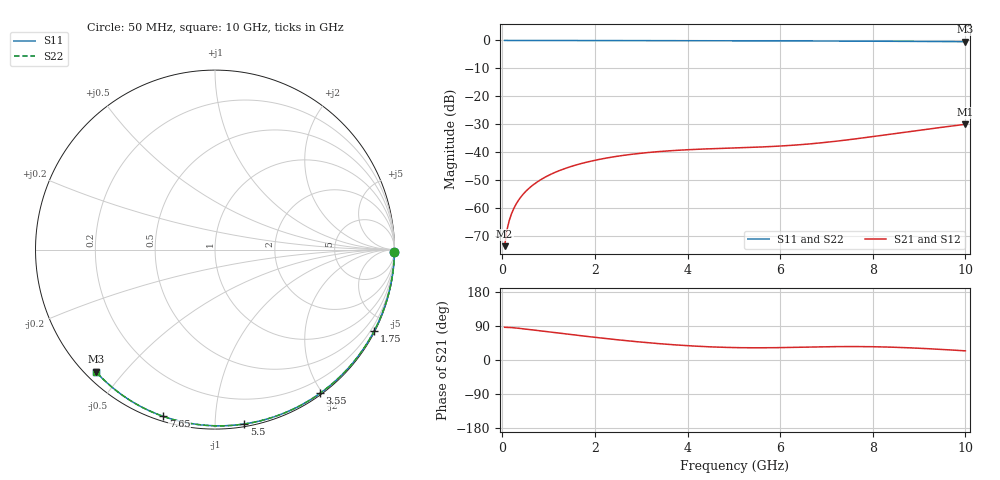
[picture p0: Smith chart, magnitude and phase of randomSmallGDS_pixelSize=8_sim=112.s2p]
! freq	dB(S11)	phase(S11)	dB(S12)	phase(S12)
!  dB(S21)	phase(S21)	dB(S22)	phase(S22)
!S-par simulation data
#  GHz  S  DB  R 50
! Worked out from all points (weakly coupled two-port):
!   200 points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, 50 MHz to 10 GHz, reference 50 ohm
!   highest |S21| = -30.06 dB at 10 GHz (marker M1); lowest = -73.7 dB at 50 MHz (marker M2)
!   lowest |S11| = -0.4 dB at 10 GHz (marker M3), VSWR 39.09, Z = 1.51 - j21 ohm
!   |S11| at or under -10 dB: nowhere
!   |S22| runs from -0.4 to 0.0 dB; largest |S21 - S12| = 0
!   S11 on the Smith chart (normalised r, x): 50 MHz: open; 1.75 GHz: 0.04, -4.13; 3.55 GHz: 0.02, -1.97; 5.5 GHz: 0.02, -1.18; 7.65 GHz: 0.02, -0.74; 10 GHz: 0.03, -0.42
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0.05  -0.00 -0.8  -73.75 86.3  -73.75 86.3  -0.00 -0.8
0.1  -0.00 -1.6  -67.99 86.1  -67.99 86.1  -0.00 -1.6
0.15  -0.00 -2.4  -64.55 85.9  -64.55 85.9  -0.00 -2.4
0.2  -0.00 -3.2  -62.10 85.5  -62.10 85.5  -0.00 -3.2
0.25  -0.00 -4.0  -60.18 85.0  -60.18 85.0  -0.00 -4.0
0.35  -0.00 -5.5  -57.29 83.7  -57.29 83.7  -0.00 -5.5
0.5  -0.01 -7.9  -54.22 81.6  -54.22 81.6  -0.01 -7.9
0.7  -0.01 -11.0  -51.35 78.7  -51.35 78.7  -0.01 -11.0
1  -0.02 -15.7  -48.36 74.3  -48.36 74.3  -0.02 -15.7
1.35  -0.03 -21.1  -45.93 69.1  -45.93 69.1  -0.03 -21.1
1.75  -0.03 -27.2  -43.93 63.3  -43.93 63.3  -0.03 -27.2
2.5  -0.05 -38.5  -41.47 53.2  -41.47 53.2  -0.05 -38.5
3.4  -0.07 -51.7  -39.81 43.0  -39.81 43.0  -0.07 -51.7
3.55  -0.07 -53.8  -39.62 41.6  -39.62 41.6  -0.07 -53.8
4.3  -0.09 -64.4  -38.95 35.8  -38.95 35.8  -0.09 -64.4
5.05  -0.11 -74.5  -38.51 32.7  -38.51 32.7  -0.11 -74.5
5.5  -0.13 -80.5  -38.25 32.2  -38.25 32.2  -0.13 -80.5
6.7  -0.18 -95.7  -37.00 34.3  -37.00 34.3  -0.18 -95.7
7.65  -0.24 -107.2  -35.23 35.5  -35.23 35.5  -0.24 -107.2
8.35  -0.29 -115.5  -33.68 34.1  -33.68 34.1  -0.29 -115.5
9.2  -0.36 -125.3  -31.77 29.8  -31.77 29.8  -0.36 -125.3
10  -0.44 -134.3  -30.06 24.1  -30.06 24.1  -0.44 -134.4
